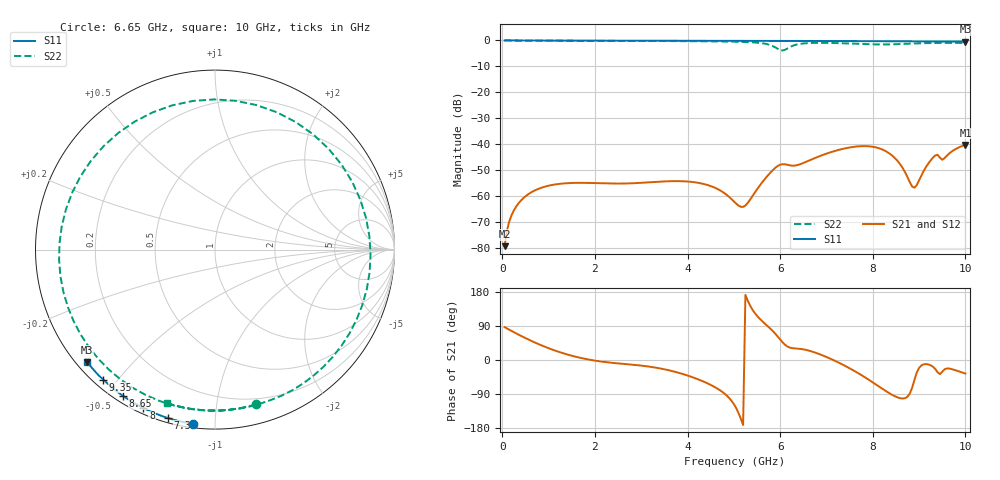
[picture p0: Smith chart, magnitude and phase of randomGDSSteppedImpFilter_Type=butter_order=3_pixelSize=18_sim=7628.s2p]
! freq	dB(S11)	phase(S11)	dB(S12)	phase(S12)
!  dB(S21)	phase(S21)	dB(S22)	phase(S22)
!S-par simulation data
#  GHz  S  DB  R 50
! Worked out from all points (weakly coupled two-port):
!   200 points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, 50 MHz to 10 GHz, reference 50 ohm
!   highest |S21| = -40.23 dB at 10 GHz (marker M1); lowest = -79.3 dB at 50 MHz (marker M2)
!   lowest |S11| = -0.5 dB at 10 GHz (marker M3), VSWR 37.45, Z = 1.53 - j18.9 ohm
!   |S11| at or under -10 dB: nowhere
!   |S22| runs from -3.9 to 0.0 dB; largest |S21 - S12| = 0
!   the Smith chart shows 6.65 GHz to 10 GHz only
!   S11 on the Smith chart (normalised r, x): 6.65 GHz: 0.02, -0.88; 7.3 GHz: 0.02, -0.76; 8 GHz: 0.02, -0.65; 8.65 GHz: 0.02, -0.55; 9.35 GHz: 0.03, -0.46; 10 GHz: 0.03, -0.38
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0.05  -0.00 -0.8  -79.25 86.7  -79.25 86.7  -0.00 -6.0
0.3  -0.01 -4.8  -63.99 70.2  -63.99 70.2  -0.05 -34.9
0.8  -0.02 -12.7  -57.02 41.0  -57.02 41.0  -0.10 -87.2
1.75  -0.04 -27.7  -54.86 4.0  -54.86 4.0  -0.14 -162.6
2.5  -0.05 -39.2  -55.13 -9.0  -55.13 -9.0  -0.17 149.8
3.4  -0.07 -52.6  -54.40 -22.1  -54.40 -22.1  -0.22 94.0
4.4  -0.10 -67.0  -55.52 -59.8  -55.52 -59.8  -0.33 24.9
5.05  -0.12 -76.0  -62.84 -126.8  -62.84 -126.8  -0.49 -27.8
5.65  -0.14 -84.2  -53.80 98.2  -53.80 98.2  -1.17 -99.4
5.9  -0.15 -87.5  -48.99 68.7  -48.99 68.7  -2.71 -168.7
6.1  -0.16 -90.1  -47.70 40.7  -47.70 40.7  -3.65 77.1
6.3  -0.17 -92.8  -48.23 30.8  -48.23 30.8  -1.85 -9.7
6.65  -0.19 -97.3  -46.06 23.7  -46.06 23.7  -0.99 -75.1
6.7  -0.19 -97.9  -45.68 21.9  -45.68 21.9  -0.96 -81.5
7.3  -0.23 -105.6  -42.00 -9.1  -42.00 -9.1  -1.05 -147.5
7.65  -0.25 -110.0  -40.85 -32.2  -40.85 -32.2  -1.27 171.4
8  -0.28 -114.3  -40.95 -59.1  -40.95 -59.1  -1.50 122.1
8.35  -0.30 -118.6  -43.42 -87.1  -43.42 -87.1  -1.52 65.7
8.65  -0.33 -122.3  -49.26 -101.6  -49.26 -101.6  -1.35 18.9
8.9  -0.35 -125.3  -56.75 -52.2  -56.75 -52.2  -1.17 -14.6
9.35  -0.40 -130.7  -44.29 -23.8  -44.29 -23.8  -0.97 -61.1
10  -0.46 -138.6  -40.23 -35.8  -40.23 -35.8  -0.95 -107.5
